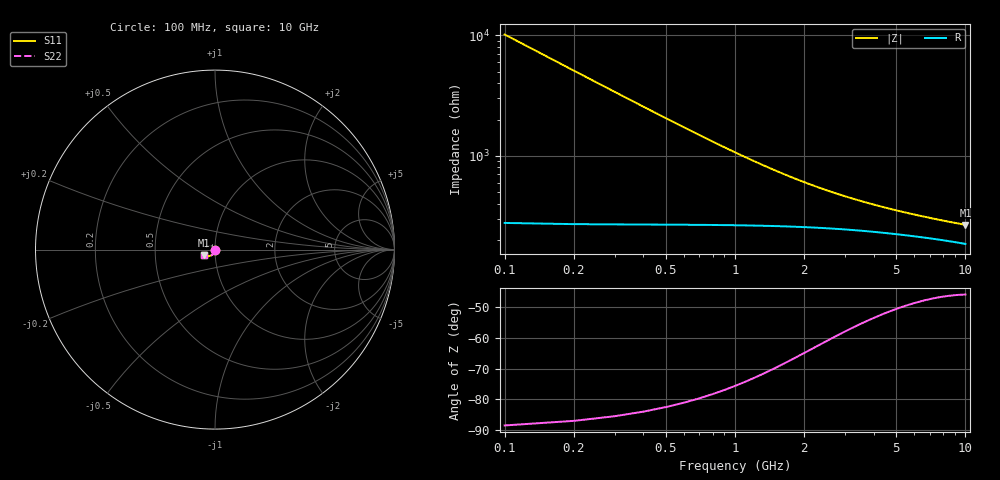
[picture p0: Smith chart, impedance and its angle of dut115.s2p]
! Touchstone file exported from HFSS 2024.1.0
!  File:  C:/UserFiles/LocalFiles/RDL_TSV_Batchsim/temp_TSV1_115_1778752758.aedt
!  Generated:  06:03:35 PM May 14, 2026
!  Design:  TSV1
!  Project:  temp_TSV1_115_1778752758
!  Setup:  Setup1
!  Solution:  Sweep
! Variables:
!  dtsv = 17.62um
!  hbump = 3um
!  htsv = 73.37um
!  lrdl = 252.1521522um
!  p = 40
!  p1 = 51.28um
!  t = 500um
!  trdl = 3um
!  wrdl = 24.89489489um
# GHz S MA R 50.000000
! Terminal data exported
! Port[1] = TSV22_T1
! Port[2] = TSV22_T2
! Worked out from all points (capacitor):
!   100 points, 100 MHz to 10 GHz, reference 50 ohm
!   read as one part in shunt: C = 157 fF near 100 MHz
!   lowest |Z| = 267 ohm at 10 GHz (marker M1)
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0.1  0.002149 -89.9  0.9999 -0.2  0.9999 -0.2  0.002149 -89.9
! Gamma 0 0 0 0
! Port Impedance 50 0 50 0
0.2  0.004288 -92.7  0.9996 -0.3  0.9996 -0.3  0.004288 -92.7
0.3  0.006413 -94.8  0.9993 -0.5  0.9993 -0.5  0.006413 -94.8
0.4  0.008516 -96.7  0.9988 -0.6  0.9988 -0.6  0.008516 -96.7
0.5  0.01059 -98.6  0.9982 -0.8  0.9982 -0.8  0.01059 -98.6
0.6  0.01263 -100.4  0.9975 -0.9  0.9975 -0.9  0.01263 -100.4
0.7  0.01462 -102.1  0.9967 -1.1  0.9967 -1.1  0.01462 -102.1
0.8  0.01658 -103.9  0.9958 -1.2  0.9958 -1.2  0.01658 -103.9
0.9  0.01848 -105.5  0.9948 -1.3  0.9948 -1.3  0.01848 -105.5
1.1  0.02212 -108.7  0.9926 -1.6  0.9926 -1.6  0.02212 -108.7
1.4  0.02714 -113.1  0.9891 -1.9  0.9891 -1.9  0.02714 -113.1
1.6  0.03019 -115.8  0.9867 -2.1  0.9867 -2.1  0.03019 -115.8
1.8  0.03301 -118.3  0.9842 -2.3  0.9842 -2.3  0.03301 -118.3
2.1  0.03682 -121.7  0.9807 -2.5  0.9807 -2.5  0.03682 -121.7
2.5  0.04121 -125.7  0.9762 -2.8  0.9762 -2.8  0.04121 -125.7
2.9  0.04495 -129.1  0.972 -3.0  0.972 -3.0  0.04495 -129.1
3.4  0.04888 -132.7  0.9674 -3.2  0.9674 -3.2  0.04888 -132.7
4.2  0.05392 -137.2  0.961 -3.5  0.961 -3.5  0.05392 -137.2
5.1  0.05833 -141.1  0.9552 -3.8  0.9552 -3.8  0.05833 -141.1
6.7  0.06411 -146.2  0.9473 -4.3  0.9473 -4.3  0.06411 -146.2
8.4  0.06841 -150.0  0.9415 -4.8  0.9415 -4.8  0.06841 -150.0
10  0.07133 -152.7  0.9374 -5.2  0.9374 -5.2  0.07133 -152.7
